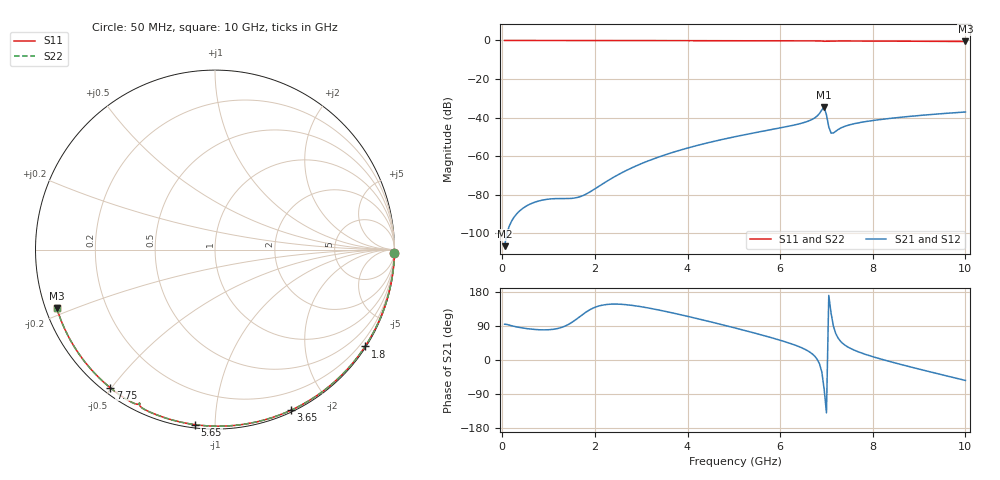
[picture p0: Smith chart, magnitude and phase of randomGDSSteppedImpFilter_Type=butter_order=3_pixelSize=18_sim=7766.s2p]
! freq	dB(S11)	phase(S11)	dB(S12)	phase(S12)
!  dB(S21)	phase(S21)	dB(S22)	phase(S22)
!S-par simulation data
#  GHz  S  DB  R 50
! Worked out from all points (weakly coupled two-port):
!   200 points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, 50 MHz to 10 GHz, reference 50 ohm
!   highest |S21| = -34.69 dB at 6.95 GHz (marker M1); lowest = -106.8 dB at 50 MHz (marker M2)
!   lowest |S11| = -0.5 dB at 10 GHz (marker M3), VSWR 32.26, Z = 1.6 - j8.91 ohm
!   |S11| at or under -10 dB: nowhere
!   |S22| runs from -0.5 to 0.0 dB; largest |S21 - S12| = 0
!   S11 on the Smith chart (normalised r, x): 50 MHz: open; 1.8 GHz: 0.03, -3.39; 3.65 GHz: 0.02, -1.58; 5.65 GHz: 0.02, -0.89; 7.75 GHz: 0.02, -0.50; 10 GHz: 0.03, -0.18
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0.05  -0.00 -0.9  -106.76 94.4  -106.76 94.4  -0.00 -0.9
0.85  -0.02 -15.7  -82.93 79.6  -82.93 79.6  -0.02 -15.7
1.75  -0.04 -31.9  -80.42 121.4  -80.42 121.4  -0.04 -31.9
1.8  -0.04 -32.8  -79.86 125.7  -79.86 125.7  -0.04 -32.8
2.6  -0.06 -46.9  -68.42 146.7  -68.42 146.7  -0.06 -46.9
3.4  -0.08 -60.5  -60.31 131.4  -60.31 131.4  -0.08 -60.5
3.65  -0.09 -64.7  -58.32 124.9  -58.32 124.9  -0.09 -64.7
4.3  -0.11 -75.3  -53.93 106.6  -53.93 106.6  -0.11 -75.3
5.05  -0.13 -87.2  -49.83 83.8  -49.83 83.8  -0.13 -87.2
5.65  -0.16 -96.5  -47.00 64.4  -47.00 64.4  -0.16 -96.5
6.4  -0.20 -107.8  -43.36 35.6  -43.36 35.6  -0.20 -107.8
6.7  -0.22 -112.3  -40.87 15.5  -40.87 15.5  -0.22 -112.4
6.8  -0.24 -114.0  -39.19 1.7  -39.19 1.7  -0.24 -114.0
6.95  -0.42 -116.2  -34.69 -76.9  -34.69 -76.9  -0.42 -116.2
7  -0.39 -116.0  -38.67 -139.4  -38.67 -139.4  -0.39 -116.0
7.05  -0.31 -116.7  -44.87 170.5  -44.87 170.5  -0.31 -116.7
7.1  -0.29 -117.5  -48.08 123.3  -48.08 123.3  -0.28 -117.5
7.15  -0.27 -118.3  -48.03 89.4  -48.03 89.4  -0.27 -118.3
7.4  -0.28 -122.1  -44.53 39.1  -44.53 39.1  -0.28 -122.1
7.75  -0.30 -127.2  -42.49 18.8  -42.49 18.8  -0.30 -127.2
8.35  -0.35 -135.9  -40.51 -3.5  -40.51 -3.5  -0.35 -135.9
10  -0.54 -159.8  -37.13 -53.9  -37.13 -53.9  -0.54 -159.8
